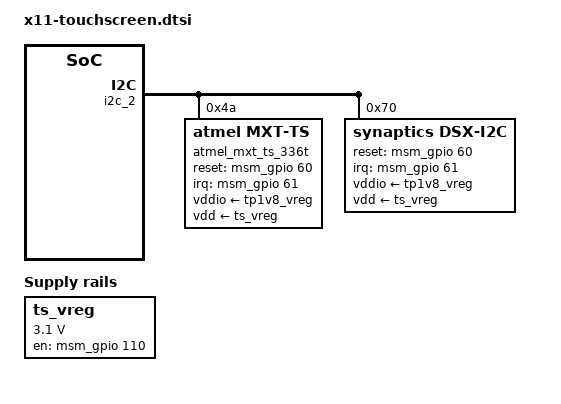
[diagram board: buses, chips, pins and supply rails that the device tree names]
/* Copyright (c) 2017, The Linux Foundation. All rights reserved.
 *
 * This program is free software; you can redistribute it and/or modify
 * it under the terms of the GNU General Public License version 2 and
 * only version 2 as published by the Free Software Foundation.
 *
 * This program is distributed in the hope that it will be useful,
 * but WITHOUT ANY WARRANTY; without even the implied warranty of
 * MERCHANTABILITY or FITNESS FOR A PARTICULAR PURPOSE.  See the
 * GNU General Public License for more details.
 */

&tlmm_pinmux {
	pmx_ts {
		qcom,pins = <&gp 60>, <&gp 61>, <&gp 96>, <&gp 110>;
	};
};

&soc {
	ts_vreg: ts_vreg {
		compatible = "regulator-fixed";
		regulator-name = "ts_vreg";
		regulator-min-microvolt = <3100000>;
		regulator-max-microvolt = <3100000>;
		gpio = <&msm_gpio 110 0>;
		startup-delay-us = <10000>;
		enable-active-high;
	};
};

&i2c_2 {
	qcom,clk-freq-out = <400000>;
	atmel_mxt_ts_336t@4a {
		compatible = "atmel,mxt-ts";
		reg = <0x4a>;
		interrupt-parent = <&msm_gpio>;
		interrupts = <61 0x2008>;
		vddio-supply = <&tp1v8_vreg>;
		vdd-supply = <&ts_vreg>;
		/* pins used by touchscreen */
		pinctrl-names = "pmx_ts_active","pmx_ts_suspend";
		pinctrl-0 = <&ts_active>;
		pinctrl-1 = <&ts_suspend>;
		atmel,reset-gpio = <&msm_gpio 60 0x00>;
		atmel,irq-gpio = <&msm_gpio 61 0x2008>;
		atmel,mxt-fw-name = "mXT874U10EC.fw";
		atmel,config-array-size = <4>;
		atmel,default-config = <3>;
		atmel,default-panel-id = <0x36>;
		atmel,use-ptc-key;
		atmel,irqflags = <0x2008>;
		atmel,gpio-mask = <0xC>;
		atmel,cfg_1 {
			atmel,family-id = <0xA4>;
			atmel,variant-id = <0x15>;
			atmel,version = <0x21>;
			atmel,build = <0xAA>;
			atmel,rev-id = <0x2>;
			atmel,mxt-cfg-name = "mxt_336t_biel_config.fw";
			atmel,vendor-id = <0x0C>;
			atmel,panel-id = <0x31>; /* Biel D1 id = 0x31 */
			atmel,key-codes = <102 139 158>;
			atmel,selfintthr-stylus = <0>;
			atmel,t71-tchthr-pos = <22>;
			atmel,self-chgtime-min = <0>;
			atmel,self-chgtime-max = <0>;
			atmel,mult-intthr-sensitive = <12>;
			atmel,mult-intthr-not-sensitive = <17>;
			atmel,atchthr-sensitive = <6>;
			atmel,mult-tchthr-sensitive = <0>;
			atmel,mult-tchthr-not-sensitive = <0>;
			atmel,wake-up-self-adcx = <16>;
			atmel,support-wakeup-gesture;
		};
		atmel,cfg_2 {
			atmel,family-id = <0xA4>;
			atmel,variant-id = <0x15>;
			atmel,version = <0x21>;
			atmel,build = <0xAA>;
			atmel,rev-id = <0x2>;
			atmel,mxt-cfg-name = "mxt_336t_biel_config.fw";
			atmel,vendor-id = <0x0C>;
			atmel,panel-id = <0x35>; /* Biel TPB id = 0x35 */
			atmel,key-codes = <102 139 158>;
			atmel,selfintthr-stylus = <0>;
			atmel,t71-tchthr-pos = <22>;
			atmel,self-chgtime-min = <0>;
			atmel,self-chgtime-max = <0>;
			atmel,mult-intthr-sensitive = <12>;
			atmel,mult-intthr-not-sensitive = <17>;
			atmel,atchthr-sensitive = <6>;
			atmel,mult-tchthr-sensitive = <0>;
			atmel,mult-tchthr-not-sensitive = <0>;
			atmel,wake-up-self-adcx = <16>;
			atmel,support-wakeup-gesture;
		};
		atmel,cfg_3 {
			atmel,family-id = <0xA4>;
			atmel,variant-id = <0x15>;
			atmel,version = <0x21>;
			atmel,build = <0xAA>;
			atmel,rev-id = <0x2>;
			atmel,mxt-cfg-name = "mxt_336t_tpk_config.fw";
			atmel,vendor-id = <0x0C>;
			atmel,panel-id = <0x36>; /* TPK id = 0x36 */
			atmel,key-codes = <102 139 158>;
			atmel,selfintthr-stylus = <0>;
			atmel,t71-tchthr-pos = <22>;
			atmel,self-chgtime-min = <0>;
			atmel,self-chgtime-max = <0>;
			atmel,mult-intthr-sensitive = <12>;
			atmel,mult-intthr-not-sensitive = <17>;
			atmel,atchthr-sensitive = <6>;
			atmel,mult-tchthr-sensitive = <0>;
			atmel,mult-tchthr-not-sensitive = <0>;
			atmel,wake-up-self-adcx = <16>;
			atmel,support-wakeup-gesture;
		};
		atmel,cfg_4 {
			atmel,family-id = <0xA6>;
			atmel,variant-id = <0x00>;
			atmel,version = <0x10>;
			atmel,build = <0xEC>;
			atmel,rev-id = <0x72>;
			atmel,mxt-cfg-name = "mxt_874u_tpk_config.fw";
			atmel,vendor-id = <0x0C>;
			atmel,panel-id = <0x36>; /* TPK id = 0x36 */
			atmel,key-codes = <158 102 139>;
			atmel,selfintthr-stylus = <0>;
			atmel,t71-tchthr-pos = <22>;
			atmel,self-chgtime-min = <0>;
			atmel,self-chgtime-max = <0>;
			atmel,mult-intthr-sensitive = <12>;
			atmel,mult-intthr-not-sensitive = <17>;
			atmel,atchthr-sensitive = <6>;
			atmel,mult-tchthr-sensitive = <0>;
			atmel,mult-tchthr-not-sensitive = <0>;
			atmel,wake-up-self-adcx = <16>;
			atmel,support-wakeup-gesture;
		};
	};
	synaptics@70 {
		compatible = "synaptics,dsx-i2c";
		reg = <0x70>;
		interrupt-parent = <&msm_gpio>;
		interrupts = <61 0x2008>;
		vddio-supply = <&tp1v8_vreg>;
		vdd-supply = <&ts_vreg>;
		synaptics,pwr-reg-name = "vdd";
		synaptics,bus-reg-name = "vddio";
		synaptics,ub-i2c-addr = <0x70>;
		pinctrl-names = "pmx_ts_active", "pmx_ts_suspend";
		pinctrl-0 = <&ts_active>;
		pinctrl-1 = <&ts_suspend>;
		synaptics,panel-x = <1080>;
		synaptics,panel-y = <1920>;
		synaptics,max-major = <255>;
		synaptics,max-minor = <255>;
		synaptics,max-finger-num = <10>;
		synaptics,reset-gpio = <&msm_gpio 60 0x00>;
		synaptics,irq-gpio = <&msm_gpio 61 0x2008>;
		synaptics,reset-gpio-name = "dsx_reset";
		synaptics,irq-gpio-name = "dsx_irq";
		synaptics,irq-on-state = <0>;
		synaptics,irq-flags = <0x2008>; /* IRQF_ONESHOFT | IRQF_TRIGGER_LOW */
		synaptics,power-delay-ms = <5>;
		synaptics,reset-delay-ms = <15>;
		synaptics,reset-active-ms = <5>;
		synaptics,power-on-state = <1>;
		synaptics,reset-on-state = <0>;
		synaptics,cap-button-codes = <139 102 158>;
		synaptics,guest-serialization-as-lockdown;
		synaptics,use-charger-bit;
		synaptics,tp-id-byte = /bits/ 8 <0 1>;
		synaptics,config-array-size = <5>;
		synaptics,cfg_1 {
			synaptics,tp-id = /bits/ 8 <0x31 0x33>;
			synaptics,fw-name = "synaptics_biel_sharp_update.fw";
		};
		synaptics,cfg_2 {
			synaptics,tp-id = /bits/ 8 <0x35 0x32>;
			synaptics,fw-name = "synaptics_biel_lgd_update.fw";
		};
		synaptics,cfg_3 {
			synaptics,tp-id = /bits/ 8 <0x36 0x33>;
			synaptics,fw-name = "synaptics_tpk_update.fw";
		};
		synaptics,cfg_4 {
			synaptics,tp-id = /bits/ 8 <0x31 0x34>;
			synaptics,fw-name = "synaptics_biel_auo_update.fw";
		};
		synaptics,cfg_5 {
			synaptics,tp-id = /bits/ 8 <0x36 0x34>;
			synaptics,fw-name = "synaptics_tpk_update.fw";
		};
	};
};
